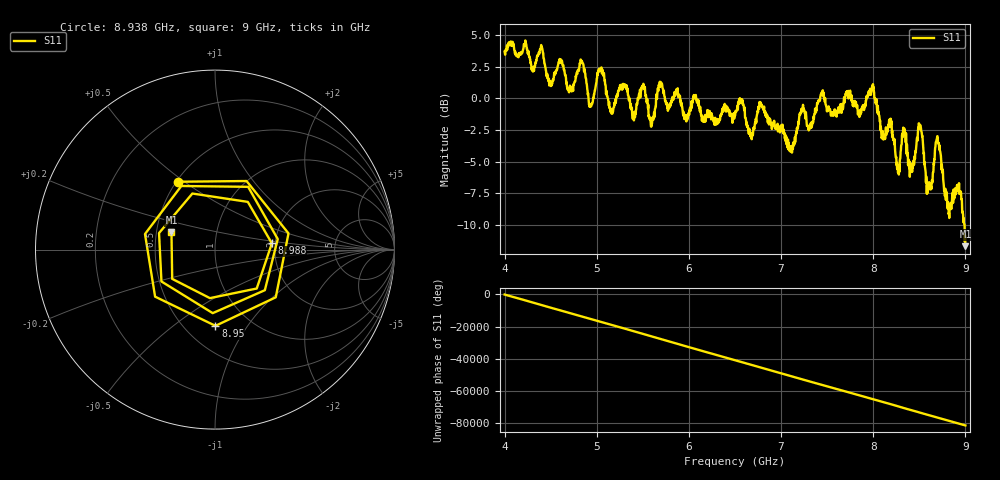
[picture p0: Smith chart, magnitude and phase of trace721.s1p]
! Created with skrf 1.8.0 (http://scikit-rf.org).
# Hz S RI R 50.0
!freq ReS11 ImS11
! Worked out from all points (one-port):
!   1601 points, 4 GHz to 9 GHz, reference 50 ohm
!   lowest |S11| = -11.7 dB at 9 GHz (marker M1), VSWR 1.71, Z = 30 + j6.21 ohm
!   |S11| at or under -10 dB: 8.991101 GHz to end of sweep
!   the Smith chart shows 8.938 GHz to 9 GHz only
!   S11 on the Smith chart (normalised r, x): 8.938 GHz: 0.51, +0.47; 8.95 GHz: 0.70, -0.72; 8.988 GHz: 1.92, +0.15; 9 GHz: 0.60, +0.12
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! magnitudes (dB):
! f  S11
! 4 GHz  3.7
! 4.625 GHz  2.9
! 4.719 GHz  0.8
! 4.841 GHz  2.9
! 4.934 GHz  -0.7
! 5.038 GHz  2.2
! 5.156 GHz  -0.9
! 5.25 GHz  0.8
! 5.403 GHz  -1.7
! 5.503 GHz  1.1
! 5.594 GHz  -2.2
! 5.684 GHz  1.3
! 5.875 GHz  0.5
! 6.5 GHz  -1.4
! 7.125 GHz  -3.7
! 7.228 GHz  -0.8
! 7.75 GHz  0.6
! 7.988 GHz  1.0
! 8.262 GHz  -5.6
! 8.375 GHz  -4.3
! 8.509 GHz  -2.1
! 8.606 GHz  -6.6
! 8.697 GHz  -3.0
! 8.812 GHz  -8.2
! 8.938 GHz  -7.3
! 8.95 GHz  -7.4
! 8.988 GHz  -9.9
! 9 GHz  -11.7
